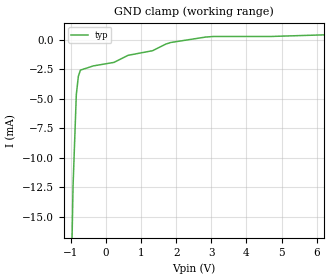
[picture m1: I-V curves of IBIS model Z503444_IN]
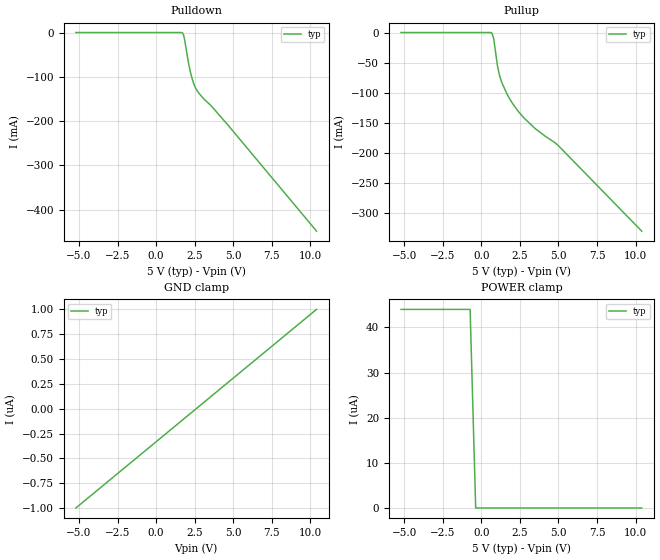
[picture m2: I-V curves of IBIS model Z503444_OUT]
| YOU ARE ONLY AUTHORIZED TO USE THIS SOFTWARE
| ACCORDING TO LICENSOR'S LICENSE RESTRICTIONS.
[IBIS Ver] 3.1
[File Name] mc10h351p.ibs
[File Rev] 1
[Source] Derived from mc10h124 measured and created
|   by ICX Technology
[Date] 2/19/2004
[Copyright]
| (C) COPYRIGHT 1993-2000
| MENTOR GRAPHICS CORPORATION
| ICX STANDARD LIBRARY, ICX PROJECT MODELING,
| ICX CUSTOM MODELING, ICX VENDOR MODEL
| ALL RIGHTS RESERVED.
| THE FOLLOWING ARE TRADEMARKS OR SERVICE MARKS OF
| MENTOR GRAPHICS CORPORATION:ICX (R), ICX STANDARD
| LIBRARY(R), ICX PROJECT MODELING(R), ICX CUSTOM
| MODELING(R), qualityIBIS(TM), MODELVIEWER(TM),
| AND MODELEDITOR(TM)
| ALL COPIES OF SOFTWARE, INCLUDING BUT NOT LIMITED TO
| ANY MODIFICATIONS, ENHANCEMENTS OR DERIVATIVE WORKS,
| MUST CONTAIN ALL MENTOR GRAPHICS CORPORATION'S
| NOTICES AND LEGENDS, INCLUDING THOSE EMBEDDED IN
| SOFTWARE AND THOSE AFFIXED TO SOFTWARE MEDIUM
| AND CONTAINER, AS RECEIVED FROM MENTOR GRAPHICS
| CORPORATION.
|  ZAP Model Builder 2.7
[Component] MC10H351P
[Manufacturer] OnSemiconductor
[Package]
| variable   typ   min   max
R_pkg  .212ohms NA NA
L_pkg  4.758nH NA NA
C_pkg  1.143pF NA NA
[Pin] signal_name  model_name  R_pin  L_pin C_pin
1 BOUT Z503444_OUT .224 7.258n 1.578p
2 _BOUT Z503444_OUT .224 7.258n 1.578p
3 NC NC .224 7.258n 1.578p
4 AOUT Z503444_OUT .224 7.258n 1.578p
5 _AOUT Z503444_OUT .224 7.258n 1.578p
6 VCC POWER .224 7.258n 1.578p
7 BIN Z503444_IN .216 5.258n 1.288p
8 AIN Z503444_IN .216 5.258n 1.288p
9 COMMON_STROBE Z503444_IN .216 5.258n 1.288p
10 GND GND .224 7.258n 1.578p
11 TTL_VCC POWER .224 7.258n 1.578p
12 DIN Z503444_IN .216 5.258n 1.288p
13 NC NC .224 7.258n 1.578p
14 CIN Z503444_IN .216 5.258n 1.288p
15 VCC2 POWER .224 7.258n 1.578p
16 _DOUT Z503444_OUT .224 7.258n 1.578p
17 DOUT Z503444_OUT .224 7.258n 1.578p
18 COUT Z503444_OUT .224 7.258n 1.578p
19 _COUT Z503444_OUT .224 7.258n 1.578p
20 ECL_VCC POWER .224 7.258n 1.578p
| Models and submodels in the file (2): Z503444_IN (Input), Z503444_OUT (Output_ECL)
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| (C) COPYRIGHT 1993-2000
| MENTOR GRAPHICS CORPORATION
| ICX STANDARD LIBRARY, ICX PROJECT MODELING,
| ICX CUSTOM MODELING, ICX VENDOR MODEL
| ALL RIGHTS RESERVED.
| THE FOLLOWING ARE TRADEMARKS OR SERVICE MARKS OF
| MENTOR GRAPHICS CORPORATION:ICX (R), ICX STANDARD
| LIBRARY(R), ICX PROJECT MODELING(R), ICX CUSTOM
| MODELING(R), qualityIBIS(TM), MODELVIEWER(TM),
| AND MODELEDITOR(TM)
| ALL COPIES OF SOFTWARE, INCLUDING BUT NOT LIMITED TO
| ANY MODIFICATIONS, ENHANCEMENTS OR DERIVATIVE WORKS,
| MUST CONTAIN ALL MENTOR GRAPHICS CORPORATION'S
| NOTICES AND LEGENDS, INCLUDING THOSE EMBEDDED IN
| SOFTWARE AND THOSE AFFIXED TO SOFTWARE MEDIUM
| AND CONTAINER, AS RECEIVED FROM MENTOR GRAPHICS
| CORPORATION.
| Model Application Version 1.89 2/18/99.
[Model] Z503444_IN
Model_type Input
Vinl = 800.0mV
Vinh = 2.000V
C_comp 2.000pF NA NA
| variable typ   min   max
[Voltage Range] 5.000V NA NA
[GND Clamp Reference] 0.000V NA NA
[POWER Clamp Reference] 5.000V NA NA
[GND Clamp]
-5V       -1.285A    NA         NA
-1.055V   -30.94mA   NA         NA
-937.5mV  -12.43mA   NA         NA
-844.4mV  -4.665mA   NA         NA
-786.1mV  -3.11mA    NA         NA
-727.9mV  -2.589mA   NA         NA
229.8mV   -1.932mA   NA         NA
629.5mV   -1.335mA   NA         NA
1.326V    -943.8uA   NA         NA
1.846V    -247.9uA   NA         NA
2.838V    212.8uA    NA         NA
10V       746.3uA    NA         NA
[POWER Clamp]
-5V       0A         NA         NA
10V       0A         NA         NA
| (C) COPYRIGHT 1993-2000
| MENTOR GRAPHICS CORPORATION
| ICX STANDARD LIBRARY, ICX PROJECT MODELING,
| ICX CUSTOM MODELING, ICX VENDOR MODEL
| ALL RIGHTS RESERVED.
| THE FOLLOWING ARE TRADEMARKS OR SERVICE MARKS OF
| MENTOR GRAPHICS CORPORATION:ICX (R), ICX STANDARD
| LIBRARY(R), ICX PROJECT MODELING(R), ICX CUSTOM
| MODELING(R), qualityIBIS(TM), MODELVIEWER(TM),
| AND MODELEDITOR(TM)
| ALL COPIES OF SOFTWARE, INCLUDING BUT NOT LIMITED TO
| ANY MODIFICATIONS, ENHANCEMENTS OR DERIVATIVE WORKS,
| MUST CONTAIN ALL MENTOR GRAPHICS CORPORATION'S
| NOTICES AND LEGENDS, INCLUDING THOSE EMBEDDED IN
| SOFTWARE AND THOSE AFFIXED TO SOFTWARE MEDIUM
| AND CONTAINER, AS RECEIVED FROM MENTOR GRAPHICS
| CORPORATION.
| Model Application Version 1.89 2/18/99.
[Model] Z503444_OUT
Model_type Output_ECL
Vref= 3.000V
Rref=50.00ohms
Cref=0.000F
Vmeas= 3.695V
C_comp 2.000pF NA NA
| variable typ   min   max
[Voltage Range] 5.00V NA NA
[POWER Clamp Reference] 5.000V NA NA
[Pullup Reference] 5.000V NA NA
[Pulldown Reference] 5.000V NA NA
[GND Clamp Reference] 0.00V NA NA
[GND Clamp]
-5.2V     -1uA       NA         NA
10.4V     1uA        NA         NA
[Pulldown]
-5.2V     203.3uA    NA         NA
1.724V    -1.199mA   NA         NA
1.782V    -5.328mA   NA         NA
1.85V     -15.8mA    NA         NA
2.106V    -69.79mA   NA         NA
2.243V    -91.99mA   NA         NA
2.474V    -118.4mA   NA         NA
2.587V    -127mA     NA         NA
2.775V    -137mA     NA         NA
3.619V    -167.3mA   NA         NA
4.634V    -208mA     NA         NA
10.4V     -448.7mA   NA         NA
[Pullup]
-5.2V     173.7uA    NA         NA
686.7mV   -602.6uA   NA         NA
800.5mV   -9.04mA    NA         NA
1.046V    -54.57mA   NA         NA
1.188V    -71.81mA   NA         NA
1.318V    -82.18mA   NA         NA
1.655V    -101.5mA   NA         NA
1.886V    -112.1mA   NA         NA
2.363V    -129.9mA   NA         NA
3.487V    -159.5mA   NA         NA
4.939V    -186.5mA   NA         NA
10.4V     -330.2mA   NA         NA
[POWER Clamp]
-5.2V     44uA       NA         NA
-723mV    44uA       NA         NA
-361.5mV  0A         NA         NA
10.4V     0A         NA         NA
[Ramp]
| variable typ min max
dV/dt_r 538.9m/1.551n NA NA
dV/dt_f 538.9m/1.651n NA NA
R_load = 50.00Ohms
